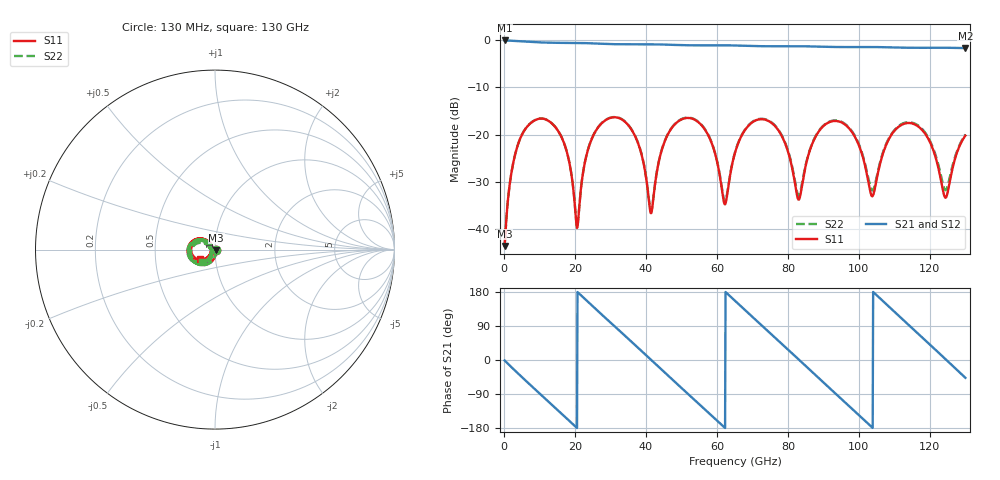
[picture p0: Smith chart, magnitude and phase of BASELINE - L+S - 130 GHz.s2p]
! TOUCHSTONE file generated by CST MICROWAVE STUDIO
! Date and time: Thu Nov 19 09:28:58 2026
! Project name: BASELINE - L+S - clad digs removed.cst
! Parameters = {BEND_RADIUS=0.1025; BOX_H=0.0047; CAP_H=0.0014; CAP_W=0.002; CLAD_H=0.0036; DEV_L=3.74; DEV_W=1.2; EL_L=3.24; EL_L2=1.44; EL_L3=1.44; GAP=0.00445; GAP2=0.0048; ISTANBUL_V1=0; L1=0.02; L2=0.066; L_OFF=0.04; MTX=0.002; N_CELL=17; N_CELL2=7; N_CELL3=7; PITCH=0.18; SI_H=0.525; SLAB_H=0.0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
! Header version: 2024
! Port assignment regex: !\s*Touchstone port\s*([0-9]+)\s*=\s*(CST MWS port|CST DES external port|CST DES block port)\s*(.+)\s* \(\"(.*)\"\)(\s*mode\s*([0-9]+))?.*
! Touchstone port assignment:
! Touchstone port 1 = CST MWS port 1 ("")
! Touchstone port 2 = CST MWS port 2 ("")
# GHz S MA R 50
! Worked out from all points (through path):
!   1000 points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, 130 MHz to 130 GHz, reference 50 ohm
!   highest |S21| = -0.05 dB at 130 MHz (marker M1); lowest = -1.7 dB at 130 GHz (marker M2)
!   group delay of S21, straight-line fit = 24 ps
!   lowest |S11| = -43.5 dB at 130 MHz (marker M3), VSWR 1.01, Z = 50.6 - j0.239 ohm
!   |S11| at or under -10 dB: start of sweep to end of sweep
!   |S22| runs from -43.6 to -16.3 dB; largest |S21 - S12| = 0.00031
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0.13  0.006673 -20.8  0.9938 -1.2  0.9938 -1.2  0.006621 -20.8
3.12  0.06234 -101.9  0.9792 -28.5  0.9792 -28.5  0.06253 -101.5
8.06  0.1379 -151.3  0.9552 -71.8  0.9551 -71.8  0.1383 -150.5
16.25  0.09291 140.1  0.9378 -142.2  0.9378 -142.2  0.09336 141.6
20.54  0.0103 -176.3  0.9359 -179.5  0.9359 -179.5  0.01047 -175.0
21.84  0.03116 -114.2  0.9338 169.1  0.9338 169.1  0.03135 -112.5
31.98  0.1516 177.3  0.9069 81.7  0.9069 81.7  0.1526 -179.9
37.7  0.08211 135.1  0.9066 32.7  0.9066 32.7  0.08285 138.7
41.34  0.01477 179.3  0.9056 1.0  0.9056 1.0  0.0154 -177.0
43.42  0.04835 -121.1  0.9026 -17.1  0.9026 -17.1  0.04869 -117.9
53.3  0.1465 171.8  0.8825 -102.1  0.8825 -102.1  0.1478 176.5
62.14  0.01841 177.5  0.8831 -178.3  0.8831 -178.3  0.0197 -177.5
65.13  0.06559 -127.7  0.8791 155.6  0.8791 155.6  0.06646 -122.9
74.75  0.1382 166.3  0.8629 72.9  0.8629 72.9  0.1399 173.2
82.94  0.02059 177.7  0.8641 2.0  0.8641 2.0  0.02276 -175.0
86.71  0.07801 -134.1  0.8592 -30.8  0.8591 -30.8  0.07904 -127.5
95.94  0.1293 162.7  0.8461 -110.4  0.8462 -110.4  0.1312 171.8
103.74  0.0223 -179.5  0.8472 -178.1  0.8471 -178.1  0.02572 -171.2
108.42  0.08976 -141.0  0.841 140.9  0.8408 140.9  0.09147 -132.5
117.13  0.1187 158.8  0.8311 65.7  0.8312 65.7  0.1218 170.8
124.41  0.02154 -178.9  0.832 2.1  0.8317 2.1  0.0259 -167.7
130  0.09782 -147.9  0.8252 -47.0  0.8249 -46.9  0.1006 -136.6
